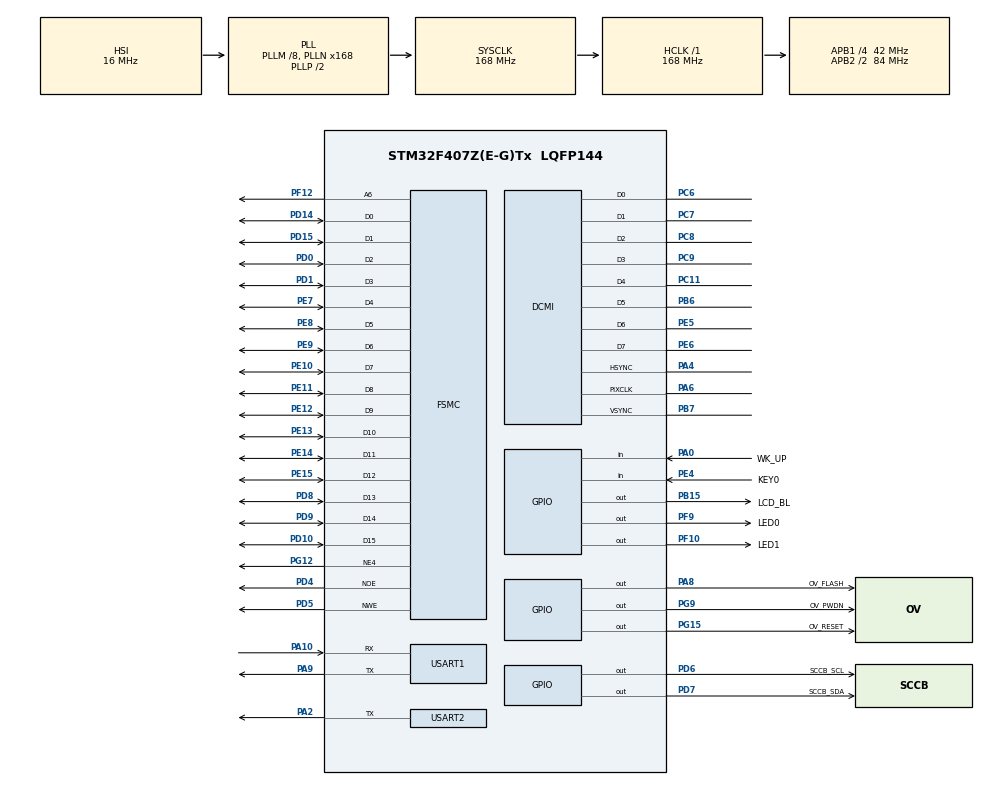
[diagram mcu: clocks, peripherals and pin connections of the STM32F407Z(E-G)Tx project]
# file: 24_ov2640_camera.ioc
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DCMI.JPEGMode=DCMI_JPEG_DISABLE
DCMI.PCKPolarity=DCMI_PCKPOLARITY_RISING
Dma.DCMI.0.Direction=DMA_PERIPH_TO_MEMORY
Dma.DCMI.0.FIFOMode=DMA_FIFOMODE_ENABLE
Dma.DCMI.0.FIFOThreshold=DMA_FIFO_THRESHOLD_HALFFULL
Dma.DCMI.0.Instance=DMA2_Stream1
Dma.DCMI.0.MemBurst=DMA_MBURST_SINGLE
Dma.DCMI.0.MemDataAlignment=DMA_MDATAALIGN_WORD
Dma.DCMI.0.MemInc=DMA_MINC_ENABLE
Dma.DCMI.0.Mode=DMA_CIRCULAR
Dma.DCMI.0.PeriphBurst=DMA_PBURST_SINGLE
Dma.DCMI.0.PeriphDataAlignment=DMA_PDATAALIGN_WORD
Dma.DCMI.0.PeriphInc=DMA_PINC_DISABLE
Dma.DCMI.0.Priority=DMA_PRIORITY_VERY_HIGH
Dma.Request0=DCMI
FSMC.AddressSetupTime1=15
FSMC.BusTurnAroundDuration1=0
FSMC.DataSetupTime1=60
FSMC.ExtendedAddressSetupTime1=9
FSMC.ExtendedBusTurnAroundDuration1=0
FSMC.ExtendedDataSetupTime1=9
FSMC.ExtendedMode1=FSMC_EXTENDED_MODE_ENABLE
Mcu.Family=STM32F4
Mcu.Name=STM32F407Z(E-G)Tx
Mcu.Package=LQFP144
NVIC.DCMI_IRQn=true\:2\:1\:true\:false\:true\:true\:true\:true
NVIC.DMA2_Stream1_IRQn=true\:0\:0\:false\:false\:true\:false\:true\:true
NVIC.PriorityGroup=NVIC_PRIORITYGROUP_2
NVIC.TIM6_DAC_IRQn=true\:2\:1\:true\:false\:true\:true\:true\:true
NVIC.USART1_IRQn=true\:2\:2\:true\:false\:true\:true\:true\:true
PA0-WKUP.GPIO_Label=WK_UP
PA0-WKUP.GPIO_PuPd=GPIO_PULLDOWN
PA0-WKUP.Signal=GPIO_Input
PA10.GPIO_PuPd=GPIO_PULLUP
PA10.Mode=Asynchronous
PA10.Signal=USART1_RX
PA13.Mode=Serial_Wire
PA13.Signal=SYS_JTMS-SWDIO
PA14.Mode=Serial_Wire
PA14.Signal=SYS_JTCK-SWCLK
PA2.GPIO_ModeDefaultOD=GPIO_MODE_AF_PP
PA2.GPIO_PuPd=GPIO_PULLUP
PA2.Mode=Half_duplex(single_wire_mode)
PA2.Signal=USART2_TX
PA4.GPIO_PuPd=GPIO_PULLUP
PA4.GPIO_Speed=GPIO_SPEED_FREQ_VERY_HIGH
PA4.Mode=Slave_8_bits_External_Synchro
PA4.Signal=DCMI_HSYNC
PA6.GPIO_PuPd=GPIO_PULLUP
PA6.GPIO_Speed=GPIO_SPEED_FREQ_VERY_HIGH
PA6.Mode=Slave_8_bits_External_Synchro
PA6.Signal=DCMI_PIXCLK
PA8.GPIO_Label=OV_FLASH
PA8.GPIO_PuPd=GPIO_PULLUP
PA8.GPIO_Speed=GPIO_SPEED_FREQ_VERY_HIGH
PA8.PinState=GPIO_PIN_SET
PA8.Signal=GPIO_Output
PA9.GPIO_PuPd=GPIO_PULLUP
PA9.Mode=Asynchronous
PA9.Signal=USART1_TX
PB15.GPIO_Label=LCD_BL
PB15.GPIO_PuPd=GPIO_PULLUP
PB15.GPIO_Speed=GPIO_SPEED_FREQ_VERY_HIGH
PB15.PinState=GPIO_PIN_SET
PB15.Signal=GPIO_Output
PB6.GPIO_PuPd=GPIO_PULLUP
PB6.GPIO_Speed=GPIO_SPEED_FREQ_VERY_HIGH
PB6.Mode=Slave_8_bits_External_Synchro
PB6.Signal=DCMI_D5
PB7.GPIO_PuPd=GPIO_PULLUP
PB7.GPIO_Speed=GPIO_SPEED_FREQ_VERY_HIGH
PB7.Mode=Slave_8_bits_External_Synchro
PB7.Signal=DCMI_VSYNC
PC11.GPIO_PuPd=GPIO_PULLUP
PC11.GPIO_Speed=GPIO_SPEED_FREQ_VERY_HIGH
PC11.Mode=Slave_8_bits_External_Synchro
PC11.Signal=DCMI_D4
PC14-OSC32_IN.Mode=LSE-External-Oscillator
PC14-OSC32_IN.Signal=RCC_OSC32_IN
PC15-OSC32_OUT.Mode=LSE-External-Oscillator
PC15-OSC32_OUT.Signal=RCC_OSC32_OUT
PC6.GPIO_PuPd=GPIO_PULLUP
PC6.GPIO_Speed=GPIO_SPEED_FREQ_VERY_HIGH
PC6.Mode=Slave_8_bits_External_Synchro
PC6.Signal=DCMI_D0
PC7.GPIO_PuPd=GPIO_PULLUP
PC7.GPIO_Speed=GPIO_SPEED_FREQ_VERY_HIGH
PC7.Mode=Slave_8_bits_External_Synchro
PC7.Signal=DCMI_D1
PC8.GPIO_PuPd=GPIO_PULLUP
PC8.GPIO_Speed=GPIO_SPEED_FREQ_VERY_HIGH
PC8.Mode=Slave_8_bits_External_Synchro
PC8.Signal=DCMI_D2
PC9.GPIO_PuPd=GPIO_PULLUP
PC9.GPIO_Speed=GPIO_SPEED_FREQ_VERY_HIGH
PC9.Mode=Slave_8_bits_External_Synchro
PC9.Signal=DCMI_D3
PD0.Signal=FSMC_D2_DA2
PD1.Signal=FSMC_D3_DA3
PD10.Signal=FSMC_D15_DA15
PD14.Signal=FSMC_D0_DA0
PD15.Signal=FSMC_D1_DA1
PD4.Signal=FSMC_NOE
PD5.Signal=FSMC_NWE
PD6.GPIO_Label=SCCB_SCL
PD6.GPIO_PuPd=GPIO_PULLUP
PD6.GPIO_Speed=GPIO_SPEED_FREQ_VERY_HIGH
PD6.PinState=GPIO_PIN_SET
PD6.Signal=GPIO_Output
PD7.GPIO_Label=SCCB_SDA
PD7.GPIO_PuPd=GPIO_PULLUP
PD7.GPIO_Speed=GPIO_SPEED_FREQ_VERY_HIGH
PD7.PinState=GPIO_PIN_SET
PD7.Signal=GPIO_Output
PD8.Signal=FSMC_D13_DA13
PD9.Signal=FSMC_D14_DA14
PE10.Signal=FSMC_D7_DA7
PE11.Signal=FSMC_D8_DA8
PE12.Signal=FSMC_D9_DA9
PE13.Signal=FSMC_D10_DA10
PE14.Signal=FSMC_D11_DA11
PE15.Signal=FSMC_D12_DA12
PE4.GPIO_Label=KEY0
PE4.GPIO_PuPd=GPIO_PULLDOWN
PE4.Signal=GPIO_Input
PE5.GPIO_PuPd=GPIO_PULLUP
PE5.GPIO_Speed=GPIO_SPEED_FREQ_VERY_HIGH
PE5.Mode=Slave_8_bits_External_Synchro
PE5.Signal=DCMI_D6
PE6.GPIO_PuPd=GPIO_PULLUP
PE6.GPIO_Speed=GPIO_SPEED_FREQ_VERY_HIGH
PE6.Mode=Slave_8_bits_External_Synchro
PE6.Signal=DCMI_D7
PE7.Signal=FSMC_D4_DA4
PE8.Signal=FSMC_D5_DA5
PE9.Signal=FSMC_D6_DA6
PF10.GPIO_Label=LED1
PF10.GPIO_PuPd=GPIO_PULLDOWN
PF10.GPIO_Speed=GPIO_SPEED_FREQ_VERY_HIGH
PF10.PinState=GPIO_PIN_SET
PF10.Signal=GPIO_Output
PF12.Signal=FSMC_A6
PF9.GPIO_Label=LED0
PF9.GPIO_PuPd=GPIO_PULLDOWN
PF9.GPIO_Speed=GPIO_SPEED_FREQ_VERY_HIGH
PF9.PinState=GPIO_PIN_SET
PF9.Signal=GPIO_Output
PG12.Mode=NorPsramChipSelect4_1
PG12.Signal=FSMC_NE4
PG15.GPIO_Label=OV_RESET
PG15.GPIO_PuPd=GPIO_PULLUP
PG15.GPIO_Speed=GPIO_SPEED_FREQ_VERY_HIGH
PG15.PinState=GPIO_PIN_SET
PG15.Signal=GPIO_Output
PG9.GPIO_Label=OV_PWDN
PG9.GPIO_PuPd=GPIO_PULLUP
PG9.GPIO_Speed=GPIO_SPEED_FREQ_VERY_HIGH
PG9.PinState=GPIO_PIN_SET
PG9.Signal=GPIO_Output
PH0-OSC_IN.Mode=HSE-External-Oscillator
PH0-OSC_IN.Signal=RCC_OSC_IN
PH1-OSC_OUT.Mode=HSE-External-Oscillator
PH1-OSC_OUT.Signal=RCC_OSC_OUT
ProjectManager.HeapSize=0x200
ProjectManager.StackSize=0x400
ProjectManager.TargetToolchain=STM32CubeIDE
RCC.48MHZClocksFreq_Value=84000000
RCC.AHBFreq_Value=168000000
RCC.APB1CLKDivider=RCC_HCLK_DIV4
RCC.APB1Freq_Value=42000000
RCC.APB1TimFreq_Value=84000000
RCC.APB2CLKDivider=RCC_HCLK_DIV2
RCC.APB2Freq_Value=84000000
RCC.APB2TimFreq_Value=168000000
RCC.CortexFreq_Value=168000000
RCC.HCLKFreq_Value=168000000
RCC.HSE_VALUE=25000000
RCC.HSI_VALUE=16000000
RCC.PLLM=8
RCC.PLLN=168
RCC.SYSCLKFreq_VALUE=168000000
RCC.SYSCLKSource=RCC_SYSCLKSOURCE_PLLCLK
RCC.VCOOutputFreq_Value=336000000
SH.FSMC_A6.0=FSMC_A6,A6_1
SH.FSMC_D0_DA0.0=FSMC_D0,16b-d1
SH.FSMC_D10_DA10.0=FSMC_D10,16b-d1
SH.FSMC_D11_DA11.0=FSMC_D11,16b-d1
SH.FSMC_D12_DA12.0=FSMC_D12,16b-d1
SH.FSMC_D13_DA13.0=FSMC_D13,16b-d1
SH.FSMC_D14_DA14.0=FSMC_D14,16b-d1
SH.FSMC_D15_DA15.0=FSMC_D15,16b-d1
SH.FSMC_D1_DA1.0=FSMC_D1,16b-d1
SH.FSMC_D2_DA2.0=FSMC_D2,16b-d1
SH.FSMC_D3_DA3.0=FSMC_D3,16b-d1
SH.FSMC_D4_DA4.0=FSMC_D4,16b-d1
SH.FSMC_D5_DA5.0=FSMC_D5,16b-d1
SH.FSMC_D6_DA6.0=FSMC_D6,16b-d1
SH.FSMC_D7_DA7.0=FSMC_D7,16b-d1
SH.FSMC_D8_DA8.0=FSMC_D8,16b-d1
SH.FSMC_D9_DA9.0=FSMC_D9,16b-d1
SH.FSMC_NOE.0=FSMC_NOE,Lcd1
SH.FSMC_NWE.0=FSMC_NWE,Lcd1
TIM6.AutoReloadPreload=TIM_AUTORELOAD_PRELOAD_ENABLE
TIM6.Period=10000 - 1
TIM6.Prescaler=8400 - 1
USART1.VirtualMode=VM_ASYNC
USART2.BaudRate=921600
USART2.Mode=MODE_TX
USART2.VirtualMode=VM_ASYNC
VP_TIM6_VS_ClockSourceINT.Mode=Enable_Timer
board=custom

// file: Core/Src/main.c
/* USER CODE BEGIN Header */
/**
 ****************************************************************************************************
 * @file        main.c
 * @author      ALIENTEK
 * @brief       OV2640_Camera code
 * @license     Copyright (C) 2020-2032, ALIENTEK
 ****************************************************************************************************
 * @attention
 *
 * platform     : ALIENTEK M144-STM32F407 board
 * website      : https://www.alientek.com
 * forum        : http://www.openedv.com/forum.php
 *
 * change logs  :
 * version    data    notes
 * V1.0     20240410  the first version
 *
 ****************************************************************************************************
 */
/* USER CODE END Header */
#include "main.h"
#include "dcmi.h"
#include "dma.h"
#include "tim.h"
#include "usart.h"
#include "gpio.h"
#include "fsmc.h"

/* USER CODE BEGIN Includes */
#include "../../BSP/LED/led.h"
#include "../../BSP/KEY/key.h"
#include "../../BSP/LCD/lcd.h"
#include "../../SYSTEM/delay/delay.h"
/* USER CODE END Includes */

/* USER CODE BEGIN PTD */

/* OV2640 output data format
 * 0: RGB565 format
 * 1: JPEG format
 */
static uint8_t g_ov_mode;

/* JPEG related Data cache definition */
#define JPEG_BUF_SIZE   (29 * 1024)                                             /* Size of the JPEG data buffer */
#define JPEG_LINE_SIZE  (1 * 1024)                                              /* Size of the double buffer for JPEG data DMA */
static uint32_t g_jpeg_data_buf[JPEG_BUF_SIZE] __attribute__((aligned(4)));     /* Buffer for JPEG data */
static uint32_t g_dcmi_line_buf[2][JPEG_LINE_SIZE] __attribute__((aligned(4))); /* Double buffer for JPEG data DMA */
volatile uint32_t g_jpeg_data_len = 0;                                          /* Length of valid data in the JPEG data buffer */

/* JPEG data acquisition completion flag
 * 0: Acquisition incomplete
 * 1: Acquisition complete, but not yet processed
 * 2: Processing complete, ready to receive next data
 */
volatile uint8_t g_jpeg_data_ok = 0;

static const char *jpeg_size_tbl[13] = {"QQVGA", "QCIF", "QVGA", "WGVGA", "CIF", "VGA", "SVGA", "XGA", "WXGA", "SVGA", "WXGA+", "SXGA", "UXGA"};

static const uint16_t jpeg_img_size_tbl[][2] = {
    { 160,  120},   /* QQVGA */
    { 176,  144},   /* QCIF */
    { 320,  240},   /* QVGA */
    { 400,  240},   /* WGVGA */
    { 352,  288},   /* CIF */
    { 640,  480},   /* VGA */
    { 800,  600},   /* SVGA */
    {1024,  768},   /* XGA */
    {1280,  800},   /* WXGA */
    {1280,  960},   /* XVGA */
    {1440,  900},   /* WXGA+ */
    {1280, 1024},   /* SXGA */
    {1600, 1200},   /* UXGA */
};

/* USER CODE END PTD */

void SystemClock_Config(void);

/* USER CODE BEGIN 0 */

/**
 * @bref        Process JPEG data
 * @note        Called in DCMI capture interrupt
 * @param       None
 * @retval      None
 */
void jpeg_data_process(void)
{
	uint16_t rlen;
	uint32_t *pbuf;
	uint16_t i;

	if (g_ov_mode != 0)                                                         /* JPEG mode */
	{
	    if (g_jpeg_data_ok == 0)                                                /* JPEG data not yet captured */
	    {
	        __HAL_DMA_DISABLE(&hdma_dcmi);                              		/* Disable DMA stream used for DCMI output */
	        while (DMA2_Stream1->CR & 0x01);                                    /* Wait for DMA configuration */

	        rlen = JPEG_LINE_SIZE - __HAL_DMA_GET_COUNTER(&hdma_dcmi);  		/* Calculate remaining length */
	        pbuf = g_jpeg_data_buf + g_jpeg_data_len;                           /* Move to the end of valid data in JPEG data buffer to add new JPEG data */

	        if (DMA2_Stream1->CR & (1 << 19))                                   /* DMA is processing storage */
	        {
	            for (i=0; i<rlen; i++)
	            {
	                pbuf[i] = g_dcmi_line_buf[1][i];
	            }
	        }
	        else                                                                /* DMA is processing storage */
	        {
	            for (i=0; i<rlen; i++)
	            {
	                pbuf[i] = g_dcmi_line_buf[0][i];
	            }
	        }
	        g_jpeg_data_len += rlen;                                            /* Update the length of valid data in the JPEG data buffer */
	        g_jpeg_data_ok = 1;                                                 /* Mark JPEG data as captured */
	    }
	    else if (g_jpeg_data_ok == 2)                                           /* Previously captured JPEG data has been processed */
	    {
	        __HAL_DMA_SET_COUNTER(&hdma_dcmi, JPEG_LINE_SIZE);          		/* Set the number of data items to be transferred by DMA */
	        __HAL_DMA_ENABLE(&hdma_dcmi);                               		/* Enable DMA stream */
	        g_jpeg_data_len = 0;                                                /* Start receiving new JPEG data */
	        g_jpeg_data_ok = 0;                                                 /* Mark JPEG data as not yet captured */
	    }
	}
	else                                                                		/* RGB565 mode */
	{
	    lcd_set_cursor(0, 0);                                           		/* Set cursor position */
	    lcd_write_ram_prepare();                                        		/* Prepare to write to GRAM */
	}
}

/**
 * @bref 	JPEG data processing callback
 * @note 	Used only when using dual buffer mode, called in DMA transfer completion interrupt
 * @param    None
 * @retval   None
 */
static void jpeg_dcmi_rx_callback(void)
{
	uint16_t i;
	volatile uint32_t *pbuf;

	pbuf = g_jpeg_data_buf + g_jpeg_data_len;           /* Move to the end of valid data */
	if (DMA2_Stream1->CR & (1 << 19))                   /* DMA is processing storage */
	{
	    for (i=0; i<JPEG_LINE_SIZE; i++)                /* Copy DMA storage */
	    {
	        pbuf[i] = g_dcmi_line_buf[0][i];
	    }
	    g_jpeg_data_len += JPEG_LINE_SIZE;              /* Update the length of valid data in the JPEG data buffer */
	}
	else                                                /* DMA is processing storage */
	{
	    for (i=0; i<JPEG_LINE_SIZE; i++)                /* Copy DMA storage to JPEG data buffer */
	    {
	        pbuf[i] = g_dcmi_line_buf[1][i];
	    }
	    g_jpeg_data_len += JPEG_LINE_SIZE;              /* Update the length of valid data in the JPEG data buffer */
	}
}

/**
 * @bref 	JPEG mode test
 * @note 	gets the JPEG data from the OV2640 output and sends it to the PC via USART2
 * @param   None
 * @retval  None
 */
static void jpeg_test(void)
{
	uint8_t msgbuf[15];     	/* Prompt message buffer */
	uint8_t size = 2;       	/* Default to use QVGA */
	uint8_t contrast = 2;   	/* Default to use normal contrast */

    uint8_t *p;
    uint32_t jpeglen;
    uint8_t headok;
    uint32_t i;
    uint32_t jpegstart;
    uint8_t key;

    lcd_clear(WHITE);
    lcd_show_string(30, 50, 200, 16, 16, "STM32", RED);
    lcd_show_string(30, 70, 200, 16, 16, "OV2640 JPEG Mode", RED);
    lcd_show_string(30, 100, 200, 16, 16, "KEY0:Contrast", RED);  					/* Contrast */
    lcd_show_string(30, 120, 200, 16, 16, "WKUP:Size", RED);       					/* Resolution setting */
    sprintf((char *)msgbuf, "JPEG Size:%s", jpeg_size_tbl[size]);
    lcd_show_string(30, 140, 200, 16, 16, (char*)msgbuf, RED);     					/* Current JPEG resolution */

    ov2640_jpeg_mode();                                             				/* Configure OV2640 to JPEG mode */
    dcmi_rx_callback = jpeg_dcmi_rx_callback;                       				/* DMA transfer completion callback */
    dcmi_dma_init((uint32_t)g_dcmi_line_buf[0],                    					/* Configure DCMI DMA */
                 (uint32_t)g_dcmi_line_buf[1],
                 JPEG_LINE_SIZE,
                 DMA_MDATAALIGN_WORD,
                 DMA_MINC_ENABLE);
    ov2640_outsize_set(jpeg_img_size_tbl[size][0], jpeg_img_size_tbl[size][1]);   	/* Set image output size */
    dcmi_start();   																/* Start DCMI transfer */

    while (1)
    {
        if (g_jpeg_data_ok == 1)                                                    /* JPEG data collection completed */
        {
            p = (uint8_t *)g_jpeg_data_buf;
            printf("g_jpeg_data_len:%d\r\n", g_jpeg_data_len << 2);                 /* Print JPEG data length */
            lcd_show_string(30, 170, 210, 16, 16, "Sending JPEG data...", RED);     /* Prompt for transferring JPEG data */
            jpeglen = 0;
            headok = 0;

            for (i=0; i<((g_jpeg_data_len << 2) - 1); i++)                          /* Traverse the JPEG data to find the JPEG header and footer */
            {
                if ((p[i] == 0xFF) && (p[i + 1] == 0xD8))                           /* Found JPEG data */
                {
                    jpegstart = i;
                    headok = 1;
                }

                if (headok != 0)                                                    /* After finding the JPEG header, start looking for the JPEG footer */
                {
                    if ((p[i] == 0xFF) && (p[i + 1] == 0xD9))
                    {
                        jpeglen = i - jpegstart + 2;
                        break;
                    }
                }
            }

            if (jpeglen != 0)                                                       /* JPEG data is valid */
            {
                p += jpegstart;                                                     /* Move to the position of the JPEG header */
                for (i=0; i<jpeglen; i++)                                           /* Send the entire valid JPEG data (from JPEG header to JPEG footer) */
                {
                    USART2->DR = p[i];
                    while ((USART2->SR & 0X40) == 0);
                    key = key_scan(0);                                              /* Data transmission can be interrupted by any keypress */
                    if (key != 0)
                    {
                        break;
                    }
                }
            }

            if (key != 0)
            {
                lcd_show_string(30, 170, 210, 16, 16, "Quit Sending data   ", RED); /* Prompt for JPEG data transmission */
                switch (key)
                {
                    case KEY0_PRES: /* Adjust contrast */
                    {
                        contrast++;
                        if (contrast > 4)
                        {
                            contrast = 0;
                        }
                        ov2640_contrast(contrast);
                        sprintf((char *)msgbuf, "Contrast:%d", (int8_t)contrast - 2);
                        break;
                    }
                    case WKUP_PRES: /* Set resolution */
                    {
                        size++;
                        if (size > 12)
                        {
                            size = 0;
                        }
                        ov2640_outsize_set(jpeg_img_size_tbl[size][0], jpeg_img_size_tbl[size][1]);
                        sprintf((char *)msgbuf, "JPEG Size:%s", jpeg_size_tbl[size]);
                    }
                    default:
                    {
                        break;
                    }
                }
                lcd_fill(30, 140, 239, 190 + 16, WHITE);
                lcd_show_string(30, 140, 210, 16, 16, (char*)msgbuf, RED);          /* Display prompt content */
                HAL_Delay(800);
            }
            else
            {
                lcd_show_string(30, 170, 210, 16, 16, "Send data complete!!", RED); /* Prompt for JPEG data transmission completion */
            }

            g_jpeg_data_ok = 2;                                                     /* Mark that JPEG data processing is complete and can start receiving the next data */
       }
    }
}

/**
 * @bref        RGB565 Mode test
 * @note        Get the RGB data from the OV2640 output and display it directly on the LCD
 * @param       None
 * @retval      None
 */
static void rgb565_test(void)
{
    uint8_t key;
    uint8_t contrast = 2;   /* Default to normal contrast */
    uint8_t scale = 1;      /* Default to full-screen scaling */
    uint8_t msgbuf[15];     /* Prompt message buffer */

    lcd_clear(WHITE);
    lcd_show_string(30, 50, 200, 16, 16, "STM32", RED);
    lcd_show_string(30, 70, 200, 16, 16, "OV2640 RGB565 Mode", RED);
    lcd_show_string(30, 100, 200, 16, 16, "KEY0:Contrast", RED);            /* Contrast setting */
    lcd_show_string(30, 160, 200, 16, 16, "WKUP:FullSize/Scale", RED);      /* Scaling setting */

    ov2640_rgb565_mode();                                                   /* Configure OV2640 to RGB565 mode */
    dcmi_dma_init((uint32_t)&(LCD->LCD_RAM),                                /* Configure DCMI DMA */
                 0,
                 1,
                 DMA_MDATAALIGN_HALFWORD,
                 DMA_MINC_DISABLE);
    ov2640_outsize_set(lcddev.width, lcddev.height);                        /* Full screen scaling */
    dcmi_start();                                                           /* Start DCMI transmission */

    while (1)
    {
        key = key_scan(0);

        if (key != 0)
        {
            dcmi_stop();                                                    /* Stop DCMI transmission */
            switch (key)
            {
                case KEY0_PRES:                                             /* Set contrast */
                {
                    contrast++;
                    if (contrast > 4)
                    {
                        contrast = 0;
                    }
                    ov2640_contrast(contrast);
                    sprintf((char *)msgbuf, "Contrast:%d", (int8_t)contrast - 2);
                    break;
                }
                case WKUP_PRES:                                             /* Set scaling */
                {
                    scale = !scale;
                    if (scale == 0)                                         /* No scaling */
                    {
                        ov2640_image_win_set((1600 - lcddev.width) >> 1,
                                             (1200 - lcddev.height) >> 1,
                                             lcddev.width,
                                             lcddev.height);
                        ov2640_outsize_set(lcddev.width, lcddev.height);
                        sprintf((char *)msgbuf, "Full Size 1:1");
                    }
                    else                                                    /* Full screen scaling */
                    {
                        ov2640_image_win_set(0, 0, 1600, 1200);
                        ov2640_outsize_set(lcddev.width, lcddev.height);
                        sprintf((char *)msgbuf, "Scale");
                    }
                }
                default:
                {
                    break;
                }
            }
            lcd_show_string(30, 50, 210, 16, 16, (char*)msgbuf, RED);       /* Display prompt content */
            HAL_Delay(800);
            dcmi_start();                                                   /* Restart DCMI transmission */
        }
        HAL_Delay(10);
    }
}

/* USER CODE END 0 */

int main(void)
{
  /* USER CODE BEGIN 1 */

    uint8_t t = 0;
    uint8_t key;

  /* USER CODE END 1 */

  /* MCU Configuration--------------------------------------------------------*/

  /* Reset of all peripherals, Initializes the Flash interface and the Systick. */
  HAL_Init();

  /* Configure the system clock */
  SystemClock_Config();

  /* USER CODE BEGIN SysInit */
  delay_init(168);
  /* USER CODE END SysInit */

  /* Initialize all configured peripherals */
  MX_GPIO_Init();
  MX_DMA_Init();
  MX_USART1_UART_Init();
  MX_FSMC_Init();
  MX_TIM6_Init();
  MX_USART2_UART_Init();
  MX_DCMI_Init();
  /* USER CODE BEGIN 2 */

  lcd_init();
  lcd_show_string(30, 50, 200, 16, 16, "STM32", RED);
  lcd_show_string(30, 70, 200, 16, 16, "OV2640 TEST", RED);
  lcd_show_string(30, 90, 200, 16, 16, "ATOM@ALIENTEK", RED);

  while (ov2640_init() != 0)                                      /* Initializes the OV2640 */
  {
      lcd_show_string(30, 130, 200, 16, 16, "OV2640 ERROR ", RED);
      HAL_Delay(200);
      lcd_show_string(30, 130, 200, 16, 16, "Please Check! ", RED);
      HAL_Delay(500);
      LED0_TOGGLE();
  }
  lcd_show_string(30, 130, 200, 16, 16, "OV2640 OK     ", RED);
  ov2640_flash_intctrl();

  /* USER CODE END 2 */

  /* Infinite loop */
  while (1)
  {

      t++;
      key = key_scan(0);

      if (key == KEY0_PRES)                                       /* RGB565 Mode */
      {
          g_ov_mode = 0;
          break;
      }
      else if (key == WKUP_PRES)                                  /* JPEG Mode */
      {
          g_ov_mode = 1;
          break;
      }

      if (t == 100)
      {
          lcd_show_string(30, 150, 230, 16, 16, "KEY0:RGB565  KEY_UP:JPEG", RED);
      }

      else if (t == 200)
      {
          t = 0;
          lcd_fill(30, 150, 230, 150 + 16, WHITE);
          LED0_TOGGLE();
      }

      HAL_Delay(5);

    /* USER CODE BEGIN 3 */
  }

  if (g_ov_mode == 0)
  {
      rgb565_test();                                              /* RGB565 Mode test */
  }
  else
  {
      jpeg_test();                                                /* JPEG Mode test */
  }

  /* USER CODE END 3 */
}

void SystemClock_Config(void)
{
  RCC_OscInitTypeDef RCC_OscInitStruct = {0};
  RCC_ClkInitTypeDef RCC_ClkInitStruct = {0};

  /** Configure the main internal regulator output voltage
  */
  __HAL_RCC_PWR_CLK_ENABLE();
  __HAL_PWR_VOLTAGESCALING_CONFIG(PWR_REGULATOR_VOLTAGE_SCALE1);

  /** Initializes the RCC Oscillators according to the specified parameters
  * in the RCC_OscInitTypeDef structure.
  */
  RCC_OscInitStruct.OscillatorType = RCC_OSCILLATORTYPE_HSI;
  RCC_OscInitStruct.HSIState = RCC_HSI_ON;
  RCC_OscInitStruct.HSICalibrationValue = RCC_HSICALIBRATION_DEFAULT;
  RCC_OscInitStruct.PLL.PLLState = RCC_PLL_ON;
  RCC_OscInitStruct.PLL.PLLSource = RCC_PLLSOURCE_HSI;
  RCC_OscInitStruct.PLL.PLLM = 8;
  RCC_OscInitStruct.PLL.PLLN = 168;
  RCC_OscInitStruct.PLL.PLLP = RCC_PLLP_DIV2;
  RCC_OscInitStruct.PLL.PLLQ = 4;
  if (HAL_RCC_OscConfig(&RCC_OscInitStruct) != HAL_OK)
  {
    Error_Handler();
  }

  /** Initializes the CPU, AHB and APB buses clocks
  */
  RCC_ClkInitStruct.ClockType = RCC_CLOCKTYPE_HCLK|RCC_CLOCKTYPE_SYSCLK
                              |RCC_CLOCKTYPE_PCLK1|RCC_CLOCKTYPE_PCLK2;
  RCC_ClkInitStruct.SYSCLKSource = RCC_SYSCLKSOURCE_PLLCLK;
  RCC_ClkInitStruct.AHBCLKDivider = RCC_SYSCLK_DIV1;
  RCC_ClkInitStruct.APB1CLKDivider = RCC_HCLK_DIV4;
  RCC_ClkInitStruct.APB2CLKDivider = RCC_HCLK_DIV2;

  if (HAL_RCC_ClockConfig(&RCC_ClkInitStruct, FLASH_LATENCY_5) != HAL_OK)
  {
    Error_Handler();
  }
}

void Error_Handler(void)
{
  __disable_irq();
  while (1)
  {
  }
}
